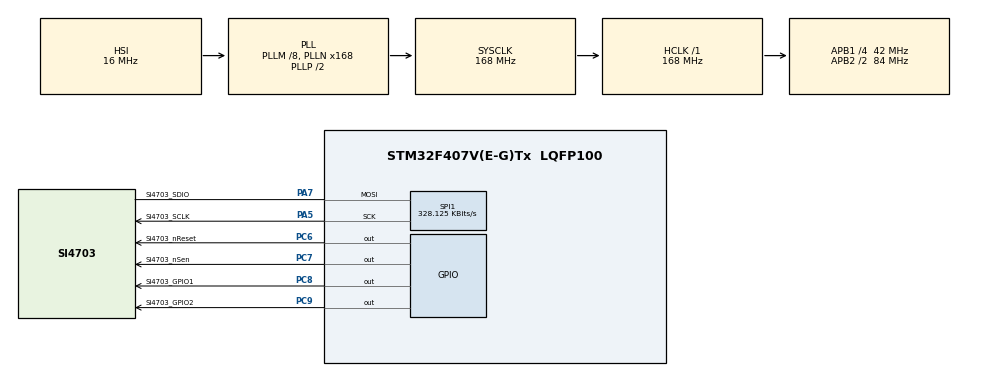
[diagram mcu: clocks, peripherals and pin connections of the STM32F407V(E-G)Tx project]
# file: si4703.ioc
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Mcu.Family=STM32F4
Mcu.Name=STM32F407V(E-G)Tx
Mcu.Package=LQFP100
NVIC.PriorityGroup=NVIC_PRIORITYGROUP_4
PA5.GPIO_Label=Si4703_SCLK
PA5.Mode=Simplex_Bidirectional_Master
PA5.Signal=SPI1_SCK
PA7.GPIO_Label=Si4703_SDIO
PA7.Mode=Simplex_Bidirectional_Master
PA7.Signal=SPI1_MOSI
PB12.GPIO_Label=Si4703_SCLK
PB12.Signal=USART3_CK
PC6.GPIO_Label=Si4703_nReset
PC6.PinState=GPIO_PIN_SET
PC6.Signal=GPIO_Output
PC7.GPIO_Label=Si4703_nSen
PC7.PinState=GPIO_PIN_SET
PC7.Signal=GPIO_Output
PC8.GPIO_Label=Si4703_GPIO1
PC8.Signal=GPIO_Output
PC9.GPIO_Label=Si4703_GPIO2
PC9.Signal=GPIO_Output
PH0-OSC_IN.Mode=HSE-External-Oscillator
PH0-OSC_IN.Signal=RCC_OSC_IN
PH1-OSC_OUT.Mode=HSE-External-Oscillator
PH1-OSC_OUT.Signal=RCC_OSC_OUT
ProjectManager.HeapSize=0x200
ProjectManager.StackSize=0x400
ProjectManager.TargetToolchain=STM32CubeIDE
RCC.48MHZClocksFreq_Value=84000000
RCC.AHBFreq_Value=168000000
RCC.APB1CLKDivider=RCC_HCLK_DIV4
RCC.APB1Freq_Value=42000000
RCC.APB1TimFreq_Value=84000000
RCC.APB2CLKDivider=RCC_HCLK_DIV2
RCC.APB2Freq_Value=84000000
RCC.APB2TimFreq_Value=168000000
RCC.CortexFreq_Value=168000000
RCC.HCLKFreq_Value=168000000
RCC.HSE_VALUE=8000000
RCC.HSI_VALUE=16000000
RCC.LSE_VALUE=32768
RCC.PLLM=8
RCC.PLLN=168
RCC.SYSCLKFreq_VALUE=168000000
RCC.SYSCLKSource=RCC_SYSCLKSOURCE_PLLCLK
RCC.VCOOutputFreq_Value=336000000
SPI1.BaudRatePrescaler=SPI_BAUDRATEPRESCALER_256
SPI1.CLKPhase=SPI_PHASE_2EDGE
SPI1.CLKPolarity=SPI_POLARITY_HIGH
SPI1.CalculateBaudRate=328.125 KBits/s
SPI1.Direction=SPI_DIRECTION_1LINE
SPI1.Mode=SPI_MODE_MASTER
SPI1.VirtualType=VM_MASTER
board=custom

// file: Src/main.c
/* USER CODE BEGIN Header */
/**
  ******************************************************************************
  * @file           : main.c
  * @brief          : Main program body
  ******************************************************************************
  * @attention
  *
  * <h2><center>&copy; Copyright (c) 2019 STMicroelectronics.
  * All rights reserved.</center></h2>
  *
  * This software component is licensed by ST under BSD 3-Clause license,
  * the "License"; You may not use this file except in compliance with the
  * License. You may obtain a copy of the License at:
  *                        opensource.org/licenses/BSD-3-Clause
  *
  ******************************************************************************
  */
/* USER CODE END Header */

#include "main.h"

SPI_HandleTypeDef hspi1;

void SystemClock_Config(void);
static void MX_GPIO_Init(void);
static void MX_SPI1_Init(void);

/* USER CODE BEGIN 0 */
uint8_t read[2] ={0x70,0x00};
uint8_t Si4703_REGs[4]={0};
uint16_t result[2];
void Si4703_SPI_Init(void) {
	GPIO_InitTypeDef GPIO_InitStruct = {0};
	GPIO_InitStruct.Pin = Si4703_SDIO_Pin;					//config GPIOB for SDIO operation
	GPIO_InitStruct.Mode = GPIO_MODE_OUTPUT_PP;
	GPIO_InitStruct.Pull = GPIO_NOPULL;
	GPIO_InitStruct.Speed = GPIO_SPEED_FREQ_LOW;
	HAL_GPIO_Init(Si4703_SDIO_GPIO_Port, &GPIO_InitStruct);	//init GPIOB
	GPIO_InitStruct.Pin = Si4703_nReset_Pin|Si4703_nSen_Pin|Si4703_GPIO1_Pin;					//config GPIOС for nReset, nSen operation
	GPIO_InitStruct.Mode = GPIO_MODE_OUTPUT_PP;
	GPIO_InitStruct.Pull = GPIO_NOPULL;
	GPIO_InitStruct.Speed = GPIO_SPEED_FREQ_LOW;
	HAL_GPIO_Init(Si4703_nReset_GPIO_Port, &GPIO_InitStruct);

	Si4703_SDIO_GPIO_Port->BSRR|=Si4703_SDIO_Pin<<16;		//set SDIO to 0
	Si4703_nSen_GPIO_Port->BSRR|=Si4703_nSen_Pin<<16;		//set nSen to 0
	Si4703_nReset_GPIO_Port->BSRR|=Si4703_nReset_Pin<<16;	        //set nReset to 0 (start Si4703)
	HAL_Delay(5);
	Si4703_nReset_GPIO_Port->BSRR|=Si4703_nReset_Pin;		//set nReset to 1 (start Si4703)
	Si4703_nSen_GPIO_Port->BSRR|=Si4703_nSen_Pin;
	HAL_Delay(1);

}
void reverseBytes(uint8_t* array,uint8_t size)
{
  for (uint8_t i=0; i<size; i++)
  {
    array[i]=(__RBIT(array[i]))>>23;
  }
}
uint32_t getUs(void)
{
  uint32_t usTicks = HAL_RCC_GetSysClockFreq() / 1000000;
  register uint32_t ms, cycle_cnt;
  do
  {
    ms = HAL_GetTick();
    cycle_cnt = SysTick->VAL;
  }
  while (ms != HAL_GetTick());
  return (ms * 1000) + (usTicks * 1000 - cycle_cnt) / usTicks;
}
void delayUs(uint16_t micros) {
  uint32_t start = getUs();
  while (getUs()-start < (uint32_t) micros)
  {
    asm("nop");
  }
}
uint16_t Si4703_SPI_Receive(uint8_t addr){
  uint8_t controlWord=0x70|(addr>>1);
  uint8_t bit9=addr&1;
  Si4703_nSen_GPIO_Port->BSRR|=Si4703_nSen_Pin<<16; 		//nSen to 0. Start
  HAL_SPI_Transmit(&hspi1, &controlWord, 1, 1000);		//transmit 8 bits
  Si4703_SDIO_GPIO_Port->BSRR|=Si4703_SDIO_Pin<<(16*(1-bit9)); 	//shift = 16 (reset) if bit9 (a0) = 0
  Si4703_SCLK_GPIO_Port->BSRR|=Si4703_SCLK_Pin; 		//SCLK to 1
  Si4703_SDIO_GPIO_Port->MODER^=(3<<(7*2)); 			//SDIO set as Output
  Si4703_SCLK_GPIO_Port->MODER^=(3<<(5*2)); 			//SCLK set as Output

  Si4703_SCLK_GPIO_Port->BSRR|=Si4703_SCLK_Pin<<16;     	//SCLK to 0. Prepare
  delayUs(1);
  Si4703_SCLK_GPIO_Port->BSRR|=Si4703_SCLK_Pin; 		//SCLK to 1. Send bit9 (a0)
  delayUs(1);
  Si4703_SDIO_GPIO_Port->MODER^=(3<<(7*2)); 			//SDIO set as SPI SDIO
  Si4703_SCLK_GPIO_Port->MODER^=(3<<(5*2)); 			//SCLK set as SPI SCLK
  __HAL_SPI_DISABLE(&hspi1);					//Disable SPI. Prepare to change CPOL (polarity of SCLK) to receive data
  hspi1.Instance->CR1^=SPI_CR1_CPOL;				//Changing CPOL
  __HAL_SPI_ENABLE(&hspi1);					//Enable SPI
  HAL_SPI_Receive(&hspi1,(uint8_t*) Si4703_REGs, 2, 1000);	//Read 2 bytes in reverse order
  __HAL_SPI_DISABLE(&hspi1);					//Disable SPI. Prepare to change CPOL (polarity of SCLK) to receive data
  hspi1.Instance->CR1^=SPI_CR1_CPOL;				//Restoring CPOL
  Si4703_SCLK_GPIO_Port->MODER^=(3<<(5*2)); 			//SCLK set as Output
  Si4703_SCLK_GPIO_Port->BSRR|=Si4703_SCLK_Pin<<16;     	//SCLK to 0. Finishing receiving
  Si4703_nSen_GPIO_Port->BSRR|=Si4703_nSen_Pin; 		//nSen to 1. Stop
  Si4703_SCLK_GPIO_Port->MODER^=(3<<(5*2)); 			//SCLK set as SPI SCLK
  return (Si4703_REGs[0]<<8)|Si4703_REGs[1];			//Swap endian

}
/* USER CODE END 0 */

int main(void)
{

  /* MCU Configuration--------------------------------------------------------*/

  /* Reset of all peripherals, Initializes the Flash interface and the Systick. */
  HAL_Init();

  /* Configure the system clock */
  SystemClock_Config();

  /* Initialize all configured peripherals */
  MX_GPIO_Init();
  MX_SPI1_Init();
  /* USER CODE BEGIN 2 */
  result[0] = Si4703_SPI_Receive(0x01);
  result[1] = Si4703_SPI_Receive(0x00);
  result[1] = Si4703_SPI_Receive(0x01);
  result[1] = Si4703_SPI_Receive(0x00);
  /* USER CODE END 2 */

  /* Infinite loop */
  while (1)
  {

  }
}

void SystemClock_Config(void)
{
  RCC_OscInitTypeDef RCC_OscInitStruct = {0};
  RCC_ClkInitTypeDef RCC_ClkInitStruct = {0};

  /** Configure the main internal regulator output voltage
  */
  __HAL_RCC_PWR_CLK_ENABLE();
  __HAL_PWR_VOLTAGESCALING_CONFIG(PWR_REGULATOR_VOLTAGE_SCALE1);
  /** Initializes the CPU, AHB and APB busses clocks
  */
  RCC_OscInitStruct.OscillatorType = RCC_OSCILLATORTYPE_HSI;
  RCC_OscInitStruct.HSIState = RCC_HSI_ON;
  RCC_OscInitStruct.HSICalibrationValue = RCC_HSICALIBRATION_DEFAULT;
  RCC_OscInitStruct.PLL.PLLState = RCC_PLL_ON;
  RCC_OscInitStruct.PLL.PLLSource = RCC_PLLSOURCE_HSI;
  RCC_OscInitStruct.PLL.PLLM = 8;
  RCC_OscInitStruct.PLL.PLLN = 168;
  RCC_OscInitStruct.PLL.PLLP = RCC_PLLP_DIV2;
  RCC_OscInitStruct.PLL.PLLQ = 4;
  if (HAL_RCC_OscConfig(&RCC_OscInitStruct) != HAL_OK)
  {
    Error_Handler();
  }
  /** Initializes the CPU, AHB and APB busses clocks
  */
  RCC_ClkInitStruct.ClockType = RCC_CLOCKTYPE_HCLK|RCC_CLOCKTYPE_SYSCLK
                              |RCC_CLOCKTYPE_PCLK1|RCC_CLOCKTYPE_PCLK2;
  RCC_ClkInitStruct.SYSCLKSource = RCC_SYSCLKSOURCE_PLLCLK;
  RCC_ClkInitStruct.AHBCLKDivider = RCC_SYSCLK_DIV1;
  RCC_ClkInitStruct.APB1CLKDivider = RCC_HCLK_DIV4;
  RCC_ClkInitStruct.APB2CLKDivider = RCC_HCLK_DIV2;

  if (HAL_RCC_ClockConfig(&RCC_ClkInitStruct, FLASH_LATENCY_5) != HAL_OK)
  {
    Error_Handler();
  }
}

static void MX_SPI1_Init(void)
{

  /* SPI1 parameter configuration*/
  hspi1.Instance = SPI1;
  hspi1.Init.Mode = SPI_MODE_MASTER;
  hspi1.Init.Direction = SPI_DIRECTION_1LINE;
  hspi1.Init.DataSize = SPI_DATASIZE_8BIT;
  hspi1.Init.CLKPolarity = SPI_POLARITY_HIGH;
  hspi1.Init.CLKPhase = SPI_PHASE_2EDGE;
  hspi1.Init.NSS = SPI_NSS_SOFT;
  hspi1.Init.BaudRatePrescaler = SPI_BAUDRATEPRESCALER_256;
  hspi1.Init.FirstBit = SPI_FIRSTBIT_MSB;
  hspi1.Init.TIMode = SPI_TIMODE_DISABLE;
  hspi1.Init.CRCCalculation = SPI_CRCCALCULATION_DISABLE;
  hspi1.Init.CRCPolynomial = 10;
  if (HAL_SPI_Init(&hspi1) != HAL_OK)
  {
    Error_Handler();
  }

}

static void MX_GPIO_Init(void)
{
  GPIO_InitTypeDef GPIO_InitStruct = {0};

  /* GPIO Ports Clock Enable */
  __HAL_RCC_GPIOH_CLK_ENABLE();
  __HAL_RCC_GPIOA_CLK_ENABLE();
  __HAL_RCC_GPIOB_CLK_ENABLE();
  __HAL_RCC_GPIOC_CLK_ENABLE();
 Si4703_SPI_Init();
  /*Configure GPIO pin Output Level */
  HAL_GPIO_WritePin(GPIOC, Si4703_nReset_Pin|Si4703_nSen_Pin, GPIO_PIN_SET);

  /*Configure GPIO pin Output Level */
  HAL_GPIO_WritePin(GPIOC, Si4703_GPIO1_Pin|Si4703_GPIO2_Pin, GPIO_PIN_RESET);

  /*Configure GPIO pin : Si4703_SCLKB12_Pin */
  GPIO_InitStruct.Pin = Si4703_SCLKB12_Pin;
  GPIO_InitStruct.Mode = GPIO_MODE_AF_PP;
  GPIO_InitStruct.Pull = GPIO_NOPULL;
  GPIO_InitStruct.Speed = GPIO_SPEED_FREQ_VERY_HIGH;
  GPIO_InitStruct.Alternate = GPIO_AF7_USART3;
  HAL_GPIO_Init(Si4703_SCLKB12_GPIO_Port, &GPIO_InitStruct);

  /*Configure GPIO pins : Si4703_nReset_Pin Si4703_nSen_Pin Si4703_GPIO1_Pin Si4703_GPIO2_Pin */
  GPIO_InitStruct.Pin = Si4703_nReset_Pin|Si4703_nSen_Pin|Si4703_GPIO1_Pin|Si4703_GPIO2_Pin;
  GPIO_InitStruct.Mode = GPIO_MODE_OUTPUT_PP;
  GPIO_InitStruct.Pull = GPIO_NOPULL;
  GPIO_InitStruct.Speed = GPIO_SPEED_FREQ_LOW;
  HAL_GPIO_Init(GPIOC, &GPIO_InitStruct);

}

void Error_Handler(void)
{
}

/************************ (C) COPYRIGHT STMicroelectronics *****END OF FILE****/
